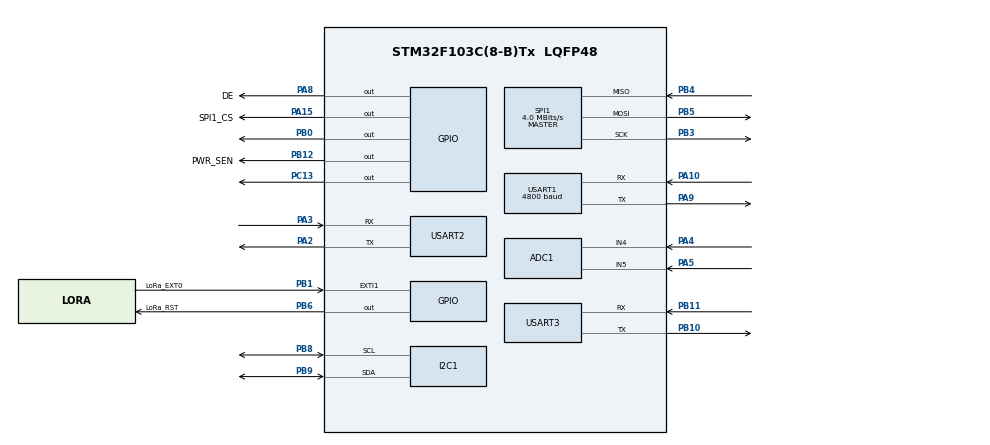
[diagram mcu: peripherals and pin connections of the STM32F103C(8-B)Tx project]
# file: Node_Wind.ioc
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ADC1.Channel-0\#ChannelRegularConversion=ADC_CHANNEL_4
ADC1.Channel-1\#ChannelRegularConversion=ADC_CHANNEL_5
ADC1.ContinuousConvMode=ENABLE
ADC1.NbrOfConversion=2
ADC1.NbrOfConversionFlag=1
ADC1.Rank-0\#ChannelRegularConversion=1
ADC1.Rank-1\#ChannelRegularConversion=2
ADC1.SamplingTime-0\#ChannelRegularConversion=ADC_SAMPLETIME_239CYCLES_5
ADC1.SamplingTime-1\#ChannelRegularConversion=ADC_SAMPLETIME_239CYCLES_5
ADC1.master=1
Dma.ADC1.0.Direction=DMA_PERIPH_TO_MEMORY
Dma.ADC1.0.Instance=DMA1_Channel1
Dma.ADC1.0.MemDataAlignment=DMA_MDATAALIGN_HALFWORD
Dma.ADC1.0.MemInc=DMA_MINC_ENABLE
Dma.ADC1.0.Mode=DMA_CIRCULAR
Dma.ADC1.0.PeriphDataAlignment=DMA_PDATAALIGN_HALFWORD
Dma.ADC1.0.PeriphInc=DMA_PINC_DISABLE
Dma.ADC1.0.Priority=DMA_PRIORITY_LOW
Dma.Request0=ADC1
Mcu.Family=STM32F1
Mcu.Name=STM32F103C(8-B)Tx
Mcu.Package=LQFP48
NVIC.DMA1_Channel1_IRQn=true\:0\:0\:false\:false\:true\:false\:true\:true
NVIC.EXTI1_IRQn=true\:0\:0\:false\:false\:true\:true\:true\:true
NVIC.PriorityGroup=NVIC_PRIORITYGROUP_4
NVIC.RTC_IRQn=true\:0\:0\:false\:false\:true\:true\:true\:true
NVIC.USART1_IRQn=true\:0\:0\:false\:false\:true\:true\:true\:true
PA0-WKUP.Mode=SYS_WakeUp0
PA0-WKUP.Signal=SYS_WKUP
PA10.Mode=Asynchronous
PA10.Signal=USART1_RX
PA13.Mode=Serial_Wire
PA13.Signal=SYS_JTMS-SWDIO
PA14.Mode=Serial_Wire
PA14.Signal=SYS_JTCK-SWCLK
PA15.GPIO_Label=SPI1_CS
PA15.GPIO_PuPd=GPIO_PULLUP
PA15.GPIO_Speed=GPIO_SPEED_FREQ_HIGH
PA15.Signal=GPIO_Output
PA2.Mode=Asynchronous
PA2.Signal=USART2_TX
PA3.Mode=Asynchronous
PA3.Signal=USART2_RX
PA4.Signal=ADCx_IN4
PA5.Signal=ADCx_IN5
PA8.GPIO_Label=DE
PA8.Signal=GPIO_Output
PA9.Mode=Asynchronous
PA9.Signal=USART1_TX
PB0.Signal=GPIO_Output
PB1.GPIO_Label=LoRa_EXT0
PB1.GPIO_PuPd=GPIO_PULLDOWN
PB1.Signal=GPXTI1
PB10.Mode=Asynchronous
PB10.Signal=USART3_TX
PB11.Mode=Asynchronous
PB11.Signal=USART3_RX
PB12.GPIO_Label=PWR_SEN
PB12.Signal=GPIO_Output
PB3.Mode=Full_Duplex_Master
PB3.Signal=SPI1_SCK
PB4.Mode=Full_Duplex_Master
PB4.Signal=SPI1_MISO
PB5.Mode=Full_Duplex_Master
PB5.Signal=SPI1_MOSI
PB6.GPIO_Label=LoRa_RST
PB6.GPIO_PuPd=GPIO_PULLDOWN
PB6.Signal=GPIO_Output
PB8.Mode=I2C
PB8.Signal=I2C1_SCL
PB9.Mode=I2C
PB9.Signal=I2C1_SDA
PC13-TAMPER-RTC.Signal=GPIO_Output
PD0-OSC_IN.Mode=HSE-External-Oscillator
PD0-OSC_IN.Signal=RCC_OSC_IN
PD1-OSC_OUT.Mode=HSE-External-Oscillator
PD1-OSC_OUT.Signal=RCC_OSC_OUT
ProjectManager.HeapSize=0x200
ProjectManager.StackSize=0x400
ProjectManager.TargetToolchain=STM32CubeIDE
RCC.APB1Freq_Value=8000000
RCC.APB2Freq_Value=8000000
SH.ADCx_IN4.0=ADC1_IN4,IN4
SH.ADCx_IN5.0=ADC1_IN5,IN5
SPI1.CalculateBaudRate=4.0 MBits/s
SPI1.Direction=SPI_DIRECTION_2LINES
SPI1.Mode=SPI_MODE_MASTER
SPI1.VirtualType=VM_MASTER
USART1.BaudRate=4800
USART1.VirtualMode=VM_ASYNC
USART2.VirtualMode=VM_ASYNC
USART3.VirtualMode=VM_ASYNC
VP_RTC_No_RTC_Output.Mode=RTC_OUT_NO
VP_RTC_VS_RTC_Activate.Mode=RTC_Enabled
VP_RTC_VS_RTC_Calendar.Mode=RTC_Calendar
board=custom

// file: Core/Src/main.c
/* USER CODE BEGIN Header */
/**
  ******************************************************************************
  * @file           : main.c
  * @brief          : Main program body
  ******************************************************************************
  * @attention
  *
  * Copyright (c) 2024 STMicroelectronics.
  * All rights reserved.
  *
  * This software is licensed under terms that can be found in the LICENSE file
  * in the root directory of this software component.
  * If no LICENSE file comes with this software, it is provided AS-IS.
  *
  ******************************************************************************
  */
/* USER CODE END Header */
#include "main.h"
#include "adc.h"
#include "dma.h"
#include "i2c.h"
#include "rtc.h"
#include "spi.h"
#include "usart.h"
#include "gpio.h"

/* USER CODE BEGIN Includes */
#include "stdio.h"
#include "stdbool.h"
#include "stdlib.h"
#include "common.h"
#include "sx1278.h"
#include "string.h"
#include "modbus_crc.h"
#include "flash.h"
#include "aht20.h"

/* USER CODE END Includes */

/* USER CODE BEGIN PTD */

typedef struct LoRa_Link_Struct
{
  uint16_t Node_ID;
  uint16_t Node_Status;
  uint16_t Node_Battery_Voltage;
  uint16_t Node_Period;
} Link_Struct_t;

typedef struct LoRa_Data_Struct
{
  Link_Struct_t Link;
  uint16_t Node_LM35_Temperature;
  uint16_t Node_AHT_Temperature;
  uint16_t Node_AHT_Humidity;
  uint16_t Node_wind_speed;
  uint16_t Node_wind_direction;
  uint16_t Node_wind_level;
} Data_Struct_t;

typedef struct LoRa_Packet_ID_0
{
  uint16_t Packet_ID;
  Link_Struct_t Payload;
} Link_Packet_t;

typedef struct LoRa_Packet_ID_1
{
  uint16_t Packet_ID;
  Data_Struct_t Payload;
} Data_Packet_t;

typedef struct LoRa_Packet_ID_2
{
  uint16_t Packet_ID;
  uint16_t Target_Node_ID;
  uint16_t Target_Node_Status;
  uint16_t Target_Node_Period;
  uint16_t Target_Node_Response;
} ResponsePacket_t;

typedef struct WindData
{
  uint16_t rawTemperature;
  float Temperature;

  uint16_t RawSpeed;
	float Speed;
  uint16_t Direction;

  uint16_t windLevel;
} WindData_t;

typedef struct DHT22
{
  float Temperature;
  float Humidity;
  float Fahrenheit;
} DHT22_t;

typedef struct AHT20
{
  float Temperature;
  float Humidity;
} AHT20_t;

typedef enum NodeStatus
{
  WAKEUP_MODE = 1U,
  LINK_MODE = 2U,
  NORMAL_MODE = 4U,
  RETRY_MODE = 8U,
  SHUTDOWN_MODE = 16U
} NodeStatus_t;

// typedef enum NodeStatusMesh
// {
//   LINK_MODE_MESH = 3U,
//   NORMAL_MODE_MESH = 5U,
//   RETRY_MODE_MESH = 7U
// } NodeStatusMesh_t;

/* USER CODE END PTD */

/* USER CODE BEGIN PD */

// #define NODE_ID     (0xCAAFU)
// #define NODE_ID     (0xCAAEU)
// #define NODE_ID     (0xCAADU)
#define NODE_ID     (0xCAACU)

#define TIMEOUT_MS                  (50U)
#define TIMEOUT_NODE                (12000)
#define PERIOD_RX_MS                (5000)
#define LINK_PACKET_ID              (0xBBBBU)
#define DATA_PACKET_ID              (0x4A4AU)
#define RESPONSE_PACKET_ID          (0x4444U)

#define PACKET_ID_0_MESH   (0xBBBBU)
#define PACKET_ID_1_MESH   (0x4A4AU)
#define PACKET_ID_2_MESH   (0x4444U)

#define SLEEPTIME_NORMAL_MODE_MIN   (5U)
#define SLEEPTIME_LINK_MODE_MIN     (1U)
#define SLEEPTIME_RETRY_MODE_SEC    (15U)

#define READ_SENSORS_DURATION_MS    (4500U)
#define DEFAULT_PERIOD_SEC          (300U)

#define WAIT_RESPONSE_DURATION_MS   (2000U)

#define NODE_WAKEUP_BIT_SHIFT       (0U)
#define NODE_WAKEUP_BIT             (1U << NODE_WAKEUP_BIT_SHIFT)
#define NODE_LINK_MODE_BIT_SHIFT    (1U)
#define NODE_LINK_MODE_BIT          (1U << NODE_LINK_MODE_BIT_SHIFT)
#define NODE_NORMAL_MODE_BIT_SHIFT  (2U)
#define NODE_NORMAL_MODE_BIT        (1U << NODE_NORMAL_MODE_BIT_SHIFT)
#define NODE_RETRY_MODE_BIT_SHIFT   (3U)
#define NODE_RETRY_MODE_BIT         (1U << NODE_RETRY_MODE_BIT_SHIFT)

#define NODE_SHUTDOWN_MODE_BIT_SHIFT   (4U)
#define NODE_SHUTDOWN_MODE_BIT         (1U << NODE_RETRY_MODE_BIT_SHIFT)

#define LINK_ACCEPT   (0xAAU)
#define LINK_REJECT   (0x55U)

#define LINK_CARRYON  (0x00U)
#define LINK_DISMISS  (0xFFU)

#define LINK_ACK      (0xABU)
#define LINK_NACK     (0xBAU)

#define AHT10_ADDRESS_1 (0x38 << 1) // 0b1110000; Adress[7-bit]Wite/Read[1-bit]
#define AHT10_ADDRESS_2 (0x39 << 1) // 0b1110000; Adress[7-bit]Wite/Read[1-bit]

#define SAVE_ADDR     (0x08013030U)

#define SPEED_ADDRESS 		0x01
#define DIRECTION_ADDRESS 0x02

/* USER CODE END PD */

void SystemClock_Config(void);
/* USER CODE BEGIN PFP */

void read_ADC(void);
void read_wind_sensor(void);
void read_DHT22(void);
void read_AHT20(void);

void goingDark(void);

void Link_Mode_Handle(void);
void Normal_Mode_Handle(void);
void Retry_Mode_Handle(void);

void Response_Handle(void);
void LoRa_Packet_Parser_Mesh(const uint8_t *data, uint32_t len);
void LoRa_Recv_Node(void);
bool Node_ID_inNetwork(uint16_t Node_ID);
void Normal_Mode_Mesh_Handle(Data_Packet_t Node);
/* USER CODE END PFP */

/* USER CODE BEGIN 0 */
static const char *TAG = "Main";
uint16_t bat = 0, temp35 = 0, test_bat;
double test_bat_f, test_lm;
uint16_t adc[2];

static WindData_t myWind;
static DHT22_t myDHT;
static AHT20_t myAHT;
Data_Packet_t Node_Mesh[3] = {0};

static NodeStatus_t myStatus;
static uint32_t backupStorage = 0U;
static uint8_t payload[100] = {0};
static uint8_t payload_node[100] = {0};
static volatile bool is_LoRa_EXTI = false;
static volatile bool is_All_Power_OFF = true;
static uint8_t array2store[32] = {0};
static volatile uint8_t nTry = 0;
static volatile Flag_Node_E = 0, Flag_Node_D = 0, Flag_Node_C = 0;

char Log[100];
uint8_t uart1_tx_data[8];
uint8_t uart1_tx_set_add[8];
uint8_t uart1_rx_data[15];
uint16_t recv_data[2];
uint8_t a[20];
uint16_t test_speed, test_level, test_di, test_dih;
float test_s;

uint8_t hum1, hum2, tempC1, tempC2, SUM, CHECK;
uint32_t pMillis, cMillis;
float temp_Celsius = 0;
float temp_Fahrenheit = 0;
float humidity = 0;
uint8_t hum_integral, hum_decimal, tempC_integral, tempC_decimal, tempF_integral, tempF_decimal;
char string[15];
uint8_t ver1;
float t, h;

uint32_t pre_time = 0, cur_time = 0;

void modbus_tx_data(uint8_t address)
{
	uart1_tx_data[0] = address; // slave address
	uart1_tx_data[1] = 0x03; // Function code for Read Input Registers (0x03)

	// where we want to start reading
	// The Register address will be 00000000 00000000 (40001)
	uart1_tx_data[2] = 0x00;
	uart1_tx_data[3] = 0x00;

	// this 2 byte indicate how many 16-bit register we want to read.
	// we will read 2, 16-bit data register from_
	// 00000000 00000000 to 00000000 00000001 (from 40001 to 40002 according to salve datasheet)
	uart1_tx_data[4] = 0x00;
	uart1_tx_data[5] = 0x02; //Sensor wind speed is 0x01, direction is 0x02

	// CRC Check function
	uint16_t crc = crc16(uart1_tx_data, 6);
	uart1_tx_data[6] = crc & 0xFF; //CRC LOW
	uart1_tx_data[7] = (crc >> 8) & 0xFF; //CRC HIGH

	// set DE,RE pin HIGH to set max485 as transmitter mode
	HAL_GPIO_WritePin(GPIOA, GPIO_PIN_8, GPIO_PIN_SET);
	// sending the uart1_tx_data array
	HAL_UART_Transmit(&huart1, uart1_tx_data, 8, 1000);
	// set DE,RE pin LOW to set max485 as receiver mode
	HAL_GPIO_WritePin(GPIOA, GPIO_PIN_8, GPIO_PIN_RESET);
}
/*
void modbus_tx_data_direction(){
	uart1_tx_data[0] = 0x02; // slave address
	uart1_tx_data[1] = 0x03; // Function code for Read Input Registers (0x03)

	// this 2 byte indicate the first 16-bit register.
	// where we want to start reading
	//The Register address will be 00000000 00000000 (40001)
	uart1_tx_data[2] = 0x00;
	uart1_tx_data[3] = 0x00;

	// this 2 byte indicate how many 16-bit register we want to read.
	// we will read 2, 16-bit data register from_
	// 00000000 00000000 to 00000000 00000001 (from 40001 to 40002 according to salve datasheet)
	uart1_tx_data[4] = 0x00;
	uart1_tx_data[5] = 0x02; //Sensor wind speed is 0x01, direction is 0x02

	// CRC Check function
	uint16_t crc = crc16(uart1_tx_data, 6);
	uart1_tx_data[6] = crc & 0xFF; //CRC LOW
	uart1_tx_data[7] = (crc >> 8) & 0xFF; //CRC HIGH

	// set DE,RE pin HIGH to set max485 as transmitter mode
	HAL_GPIO_WritePin(GPIOA, GPIO_PIN_8, GPIO_PIN_SET);
	// sending the uart1_tx_data array
	HAL_UART_Transmit(&huart1, uart1_tx_data, 8, 1000);
	// set DE,RE pin LOW to set max485 as receiver mode
	HAL_GPIO_WritePin(GPIOA, GPIO_PIN_8, GPIO_PIN_RESET);
}
*/
void modbus_tx_set_address()
{
	uart1_tx_set_add[0] = 0x01; // dia chi hien tai cua wind sensor
	uart1_tx_set_add[1] = 0x06; // Function code for set address Registers (0x03)

	// this 2 byte indicate the first 16-bit register.
	//We want set add, register add will be 07D0
	uart1_tx_set_add[2] = 0x07;
	uart1_tx_set_add[3] = 0xD0;

	// this 2 byte indicate how many 16-bit register we want to read.
	uart1_tx_set_add[4] = 0x00;
	uart1_tx_set_add[5] = 0x02;// set add = 0x02

	// CRC Check function
	uint16_t crc = crc16(uart1_tx_set_add, 6);
	uart1_tx_set_add[6] = crc & 0xFF; //CRC LOW
	uart1_tx_set_add[7] = (crc >> 8) & 0xFF; //CRC HIGH

	// set DE,RE pin HIGH to set max485 as transmitter mode
	HAL_GPIO_WritePin(GPIOA, GPIO_PIN_8, GPIO_PIN_SET);
	// sending the uart1_tx_set_add
	HAL_UART_Transmit(&huart1, uart1_tx_set_add, 8, 1000);
	// set DE,RE pin LOW to set max485 as receiver mode
	HAL_GPIO_WritePin(GPIOA, GPIO_PIN_8, GPIO_PIN_RESET);
}
/* USER CODE END 0 */

int main(void)
{

  /* MCU Configuration--------------------------------------------------------*/

  /* Reset of all peripherals, Initializes the Flash interface and the Systick. */
  HAL_Init();

  /* Configure the system clock */
  SystemClock_Config();

  /* Initialize all configured peripherals */
  MX_GPIO_Init();
  MX_DMA_Init();
  MX_SPI1_Init();
  MX_ADC1_Init();
  MX_USART1_UART_Init();
  MX_USART2_UART_Init();
  MX_USART3_UART_Init();
//  MX_I2C1_Init();
  MX_RTC_Init();
  /* USER CODE BEGIN 2 */
	sx1278_init();
	HAL_Delay(100);
	HAL_UARTEx_ReceiveToIdle_IT(&huart1, uart1_rx_data, 15); // delay 3.5s sau khi on moi read duoc
	HAL_Delay(50);
	HAL_GPIO_WritePin(GPIOB, GPIO_PIN_0, GPIO_PIN_SET); // xanh

while(1)
{
	  HAL_GPIO_WritePin(GPIOC, GPIO_PIN_13, GPIO_PIN_RESET);
//	  HAL_GPIO_WritePin(GPIOB, GPIO_PIN_0, GPIO_PIN_RESET);
	  myStatus = HAL_RTCEx_BKUPRead(&hrtc, RTC_BKP_DR2);

	  if (myStatus == 0U)
	  {
	    HAL_RTCEx_BKUPWrite(&hrtc, RTC_BKP_DR3, SLEEPTIME_NORMAL_MODE_MIN * 60);
	    myStatus = LINK_MODE;
	    is_All_Power_OFF = false;
	  }

	  if ((myStatus & LINK_MODE) != 0U)
	  {
	    Link_Mode_Handle();
	  }
	  else if ((myStatus & NORMAL_MODE) != 0U)
	      {
			  Normal_Mode_Handle();
			  HAL_Delay(50);
			  if (Flag_Node_C)
			  {
				Normal_Mode_Mesh_Handle(Node_Mesh[0]);
				Flag_Node_C = 0;
			  }
			  if (Flag_Node_D)
			  {
				Normal_Mode_Mesh_Handle(Node_Mesh[1]);
				Flag_Node_D = 0;
			  }
			  if (Flag_Node_E)
			  {
				Normal_Mode_Mesh_Handle(Node_Mesh[2]);
				Flag_Node_E = 0;
			  }
	      }
	      else if ((myStatus & RETRY_MODE) != 0U)
	        {
//	          Retry_Mode_Handle();
		        Normal_Mode_Handle();
				HAL_Delay(50);
				if (Flag_Node_C)
				{
				  Normal_Mode_Mesh_Handle(Node_Mesh[0]);
				  Flag_Node_C = 0;
				}
				if (Flag_Node_D)
				{
				  Normal_Mode_Mesh_Handle(Node_Mesh[1]);
				  Flag_Node_D = 0;
				}
				if (Flag_Node_E)
				{
				  Normal_Mode_Mesh_Handle(Node_Mesh[2]);
				  Flag_Node_E = 0;
				}
	        }

	  if ((myStatus & SHUTDOWN_MODE) != 0U)
	  {
	    // MX_GPIO_Init();
	    MX_SPI1_Init();
	    MX_RTC_Init();
	    myStatus = WAKEUP_MODE;
	    while (HAL_RTCEx_BKUPRead(&hrtc, RTC_BKP_DR2) != myStatus)  HAL_RTCEx_BKUPWrite(&hrtc, RTC_BKP_DR2, myStatus);
	    while (1);
	  }

	  while (HAL_RTCEx_BKUPRead(&hrtc, RTC_BKP_DR2) != myStatus)  HAL_RTCEx_BKUPWrite(&hrtc, RTC_BKP_DR2, myStatus);

	  HAL_GPIO_WritePin(GPIOC, GPIO_PIN_13, GPIO_PIN_SET);

    LoRa_Recv_Node();
}
// goingDark();
  /* USER CODE END 2 */

  /* Infinite loop */
  while (1)
  {

    /* USER CODE BEGIN 3 */
	  HAL_Delay(1000);
	  HAL_GPIO_TogglePin(GPIOC, GPIO_PIN_13);
	  /*
	  	      if (sx1278_recv_data((uint8_t *)rx, &nByteRx, &rssi, &snr, false) == SX1278_OK)
	  	      {
	  	    	  HAL_UART_Transmit(&huart1,(uint8_t*) "rx:", sizeof("rx:"), 100);
	  	    	  HAL_UART_Transmit(&huart1, rx, sizeof(rx), 100);
	  	    	  printf("data: %d\n", nByteRx);
	  	    	  printf("rssi: %d\n", rssi);
	  	      }
	  */
  }
  /* USER CODE END 3 */
}

void SystemClock_Config(void)
{
  RCC_OscInitTypeDef RCC_OscInitStruct = {0};
  RCC_ClkInitTypeDef RCC_ClkInitStruct = {0};
  RCC_PeriphCLKInitTypeDef PeriphClkInit = {0};

  /** Initializes the RCC Oscillators according to the specified parameters
  * in the RCC_OscInitTypeDef structure.
  */
  RCC_OscInitStruct.OscillatorType = RCC_OSCILLATORTYPE_HSI|RCC_OSCILLATORTYPE_LSI;
  RCC_OscInitStruct.HSIState = RCC_HSI_ON;
  RCC_OscInitStruct.HSICalibrationValue = RCC_HSICALIBRATION_DEFAULT;
  RCC_OscInitStruct.LSIState = RCC_LSI_ON;
  RCC_OscInitStruct.PLL.PLLState = RCC_PLL_NONE;
  if (HAL_RCC_OscConfig(&RCC_OscInitStruct) != HAL_OK)
  {
    Error_Handler();
  }

  /** Initializes the CPU, AHB and APB buses clocks
  */
  RCC_ClkInitStruct.ClockType = RCC_CLOCKTYPE_HCLK|RCC_CLOCKTYPE_SYSCLK
                              |RCC_CLOCKTYPE_PCLK1|RCC_CLOCKTYPE_PCLK2;
  RCC_ClkInitStruct.SYSCLKSource = RCC_SYSCLKSOURCE_HSI;
  RCC_ClkInitStruct.AHBCLKDivider = RCC_SYSCLK_DIV1;
  RCC_ClkInitStruct.APB1CLKDivider = RCC_HCLK_DIV1;
  RCC_ClkInitStruct.APB2CLKDivider = RCC_HCLK_DIV1;

  if (HAL_RCC_ClockConfig(&RCC_ClkInitStruct, FLASH_LATENCY_0) != HAL_OK)
  {
    Error_Handler();
  }
  PeriphClkInit.PeriphClockSelection = RCC_PERIPHCLK_RTC|RCC_PERIPHCLK_ADC;
  PeriphClkInit.RTCClockSelection = RCC_RTCCLKSOURCE_LSI;
  PeriphClkInit.AdcClockSelection = RCC_ADCPCLK2_DIV2;
  if (HAL_RCCEx_PeriphCLKConfig(&PeriphClkInit) != HAL_OK)
  {
    Error_Handler();
  }
}

/* USER CODE BEGIN 4 */

void HAL_UARTEx_RxEventCallback(UART_HandleTypeDef *huart, uint16_t Size)
{
	recv_data[0] = uart1_rx_data[3]<<8 | uart1_rx_data[4];
	recv_data[1] = uart1_rx_data[5]<<8 | uart1_rx_data[6];

	HAL_UARTEx_ReceiveToIdle_IT(&huart1, uart1_rx_data, 15);
}

void read_ADC(void)
{
		HAL_ADC_Start_DMA(&hadc1,(uint32_t*) adc, 2);
		HAL_Delay(30);
		for(uint8_t i =0; i<15; i++)
		{
			bat += adc[0];
			temp35 += adc[1];
			HAL_Delay(1);
		}

		bat = bat/15;
		test_bat_f =(double)((double)bat * 3.3 * 4.9 / 4095.0) - 0.22656;
		temp35 = temp35 / 15;
    myWind.rawTemperature = temp35;
    myWind.Temperature = (float)((float)temp35 * 11.0 * 17.0 /4095.0);
	  test_lm = (float) myWind.Temperature;
		HAL_ADC_Stop_DMA(&hadc1);
}

void read_wind_sensor (void)
{
	HAL_GPIO_WritePin(PWR_SEN_GPIO_Port, PWR_SEN_Pin, 1);
  HAL_Delay(3500);

	modbus_tx_data(SPEED_ADDRESS);
  HAL_Delay(50);
  myWind.RawSpeed = recv_data[0];
//	test_speed = recv_data[0];
//	test_s  = (float)((float)test_speed/10.0);
  myWind.Speed = (float)((float)myWind.RawSpeed / 10.0);
  myWind.windLevel = recv_data[1];
//	test_level = recv_data[1];

  modbus_tx_data(DIRECTION_ADDRESS);
  HAL_Delay(50);
  myWind.Direction = recv_data[0];
//	test_di = recv_data[1];
//	test_dih = recv_data[0];

  HAL_GPIO_WritePin(PWR_SEN_GPIO_Port, PWR_SEN_Pin, 0);
}

void read_AHT20(void)
{
		MX_I2C1_Init();
    HAL_Delay(100);
		AHT20_init();
		AHT20_read(&t, &h);
    myAHT.Temperature = t;
    myAHT.Humidity = h;
		HAL_I2C_DeInit(&hi2c1);
}

void goingDark(void)
{
  /* Enable WUPIN PA0: HAL_PWR_EnableWakeUpPin(PWR_WAKEUP_PIN1) */
  SET_BIT(PWR->CSR, PWR_CSR_EWUP);

  /* Set RTC Alarm for 300s */
  RTC_TimeTypeDef timeNow;
  RTC_AlarmTypeDef timeAlarm;
  HAL_RTC_GetTime(&hrtc, &timeNow, RTC_FORMAT_BCD);
  timeAlarm.Alarm = RTC_ALARM_A;
  timeAlarm.AlarmTime = timeNow; // luu thoi gian hien tai
  if (myStatus == NORMAL_MODE)
  {
    // timeAlarm.AlarmTime.Seconds += 5;
    timeAlarm.AlarmTime.Minutes += SLEEPTIME_NORMAL_MODE_MIN; // + thoi gian cua chu ky
	}
  else if (myStatus == LINK_MODE)
      {
        // timeAlarm.AlarmTime.Seconds += 5;
        timeAlarm.AlarmTime.Minutes += SLEEPTIME_LINK_MODE_MIN;
      }
      else if (myStatus == RETRY_MODE)
          {
            timeAlarm.AlarmTime.Seconds += SLEEPTIME_RETRY_MODE_SEC;
          }

  __HAL_RTC_ALARM_CLEAR_FLAG(&hrtc, RTC_FLAG_ALRAF);
  HAL_RTC_SetAlarm_IT(&hrtc, &timeAlarm, RTC_FORMAT_BCD); // enable interrupt

  //STANDBY mode
  /* Set SLEEPDEEP bit of Cortex System Control Register */
  SET_BIT(SCB->SCR, ((uint32_t)SCB_SCR_SLEEPDEEP_Msk));

  /* Select Standby mode */
  SET_BIT(PWR->CR, PWR_CR_PDDS);

  /* Clear WUF bit in Power Control/Status register */
  SET_BIT(PWR->CR, PWR_CR_CWUF); /*!< Clear Wakeup Flag */

  /* Clear SBF bit in Power Control/Status register */
  SET_BIT(PWR->CR, PWR_CR_CSBF); /*!< Clear Standby Flag */

  (void)PWR->CR;
  (void)PWR->CSR;

  // Disable debug, trace and IWDG in low-power modes
  DBGMCU->CR = (uint32_t)0x00;

// #if DEBUG == 1
//   logPC("Bravo 6\nGoing Dark\n");
// #endif /* DEBUG == 1 */

  for (;;)
  {
    __DSB();
    __WFI(); // Wait for interrupt
  }
}
//kiem tra xem truyen thong duoc khong
bool is_OK_2_Talk(void)
{
  sx1278_standby();
  uint32_t checkTimeout = HAL_GetTick();
  uint8_t irq = sx1278_read_reg(REG_IRQ_FLAGS);
  sx1278_write_reg(REG_IRQ_FLAGS, irq);     //reset irq
  is_LoRa_EXTI = false;
  sx1278_cad();
  while ((is_LoRa_EXTI == false) && ((HAL_GetTick() - checkTimeout) < TIMEOUT_MS));
  if (is_LoRa_EXTI == false) return false;
  irq = sx1278_read_reg(REG_IRQ_FLAGS);
  sx1278_write_reg(REG_IRQ_FLAGS, irq);     //reset irq
  sx1278_standby();
  if (((irq & 0x01U) != 0U) && ((irq & 0x04U) != 0U))
  {
    return false;
  }
  else if (((irq & 0x01U) == 0U) && ((irq & 0x04U) != 0U))
  {
    return true;
  }
  return false;
}

void Link_Mode_Handle(void)
{
  read_ADC();
	HAL_Delay(10);
	read_ADC();
	HAL_Delay(10);
	read_ADC();

  MX_SPI1_Init();
  HAL_Delay(100);
  sx1278_init();

  Link_Packet_t LinkReq;
  LinkReq.Packet_ID = LINK_PACKET_ID;
  LinkReq.Payload.Node_ID = NODE_ID;
  LinkReq.Payload.Node_Status = myStatus;
  LinkReq.Payload.Node_Battery_Voltage = (uint16_t)(test_bat_f * 100.0); // 100 x Bat_voltage
  LinkReq.Payload.Node_Period = (uint16_t) (HAL_RTCEx_BKUPRead(&hrtc, RTC_BKP_DR3));
  memcpy((uint8_t*)&payload, (uint8_t*)&LinkReq, sizeof(Link_Packet_t));

  nTry = 0;
  while ((is_OK_2_Talk() == false) && (nTry < 10))
  {
    nTry++;
    HAL_Delay(110);
    // HAL_Delay(get_random_value(backupStorage, 50, 200));
  }

  if (nTry == 10)
  {
    myStatus = LINK_MODE;
    HAL_SPI_DeInit(&hspi1);
    return;
  }

  sx1278_send_data((uint8_t *)&payload, sizeof(Link_Packet_t));

  Response_Handle();

  sx1278_sleep();
  HAL_SPI_DeInit(&hspi1);
}

void Normal_Mode_Handle(void)
{
  read_ADC();
	HAL_Delay(10);
	read_ADC();
	HAL_Delay(10);
	read_ADC();

  read_wind_sensor();
  read_AHT20();

  MX_SPI1_Init();
  HAL_Delay(100);
  sx1278_init();

  Data_Packet_t data_packet;
  data_packet.Packet_ID = DATA_PACKET_ID;
  data_packet.Payload.Link.Node_ID = NODE_ID;
  data_packet.Payload.Link.Node_Status = myStatus;
  data_packet.Payload.Link.Node_Battery_Voltage = (uint16_t)(test_bat_f * 100.0); // 100 x Bat_voltage
  data_packet.Payload.Link.Node_Period      = (uint16_t)(HAL_RTCEx_BKUPRead(&hrtc, RTC_BKP_DR3));

  data_packet.Payload.Node_LM35_Temperature = (uint16_t)(myWind.Temperature * 10); // 10 x temp_lm35
  data_packet.Payload.Node_AHT_Temperature  = (uint16_t)(myAHT.Temperature * 10);  // 10 x temp_aht
  data_packet.Payload.Node_AHT_Humidity     = (uint16_t)(myAHT.Humidity * 10);     // 10 x humid_aht
  data_packet.Payload.Node_wind_speed       = (uint16_t)(myWind.Speed * 10);       // 10 x wind speed
  data_packet.Payload.Node_wind_direction   = myWind.Direction;                    // direction type uint16
  data_packet.Payload.Node_wind_level       = myWind.windLevel;                    // direction type uint16
  memset(payload, '\0', sizeof(payload));
  memcpy((uint8_t *)payload, (uint8_t *)&data_packet, sizeof(Data_Packet_t));

  nTry = 0;
  while ((is_OK_2_Talk() == false) && (nTry < 10))
  {
    nTry++;
    HAL_Delay(150);
    // HAL_Delay(get_random_value(backupStorage, 50, 200));
  }
  if (nTry == 10)
  {
    myStatus = RETRY_MODE;
    HAL_SPI_DeInit(&hspi1);
    // HAL_GPIO_WritePin(PWR_SUB_GPIO_Port, PWR_SUB_Pin, GPIO_PIN_RESET);
    // HAL_GPIO_WritePin(LED0_GPIO_Port, LED0_Pin, GPIO_PIN_SET);
    return;
  }

  sx1278_send_data(payload, sizeof(Data_Packet_t));
  Response_Handle();

  if (myStatus == RETRY_MODE)
  {
    memset(array2store, '\0', sizeof(array2store));
    memcpy((uint8_t *)&array2store, (uint8_t *)&data_packet, sizeof(Data_Packet_t)); // save value measured
    Flash_Write_Data(SAVE_ADDR, (uint32_t*)&array2store, 8U);
    HAL_Delay(300);
  }

  sx1278_sleep();
  HAL_SPI_DeInit(&hspi1);
}

void Retry_Mode_Handle(void)
{
  Flash_Read_Data(SAVE_ADDR, (uint32_t *)&array2store, sizeof(array2store));
  array2store[4] = RETRY_MODE;
  memcpy((uint8_t *)payload, (uint8_t *)&array2store, sizeof(Data_Packet_t));

  MX_SPI1_Init();
  HAL_Delay(100);
  sx1278_init();

  nTry = 0;
  while ((is_OK_2_Talk() == false) && (nTry < 10))
  {
    nTry++;
    HAL_Delay(150);
    // HAL_Delay(get_random_value(backupStorage, 50, 200));
  }
  if (nTry == 10)
  {
    myStatus = RETRY_MODE;
    HAL_SPI_DeInit(&hspi1);
    return;
  }

  sx1278_send_data(payload, sizeof(Data_Packet_t));

  Response_Handle();

  sx1278_sleep();
  HAL_SPI_DeInit(&hspi1);
}

void Response_Handle(void)
{
  static ResponsePacket_t resp;
  static uint8_t data[100] = {0};
  static uint32_t nByteRx = 0;
  static int rssi = -1;
  static float snr = -1;

  is_LoRa_EXTI = false;
  sx1278_start_recv_data();

  uint32_t timeOut = HAL_GetTick();
  while ((HAL_GetTick() - timeOut) < 5000U)
  {
    if (is_LoRa_EXTI == true)
    {
      if (sx1278_recv_data((uint8_t *)data, &nByteRx, &rssi, &snr, false) == SX1278_OK)
      {
        if (nByteRx == sizeof(ResponsePacket_t))  memcpy(&resp, &data, sizeof(ResponsePacket_t));
        else
        {
          is_LoRa_EXTI = false;
          sx1278_set_irq(0x00);
          sx1278_write_reg(REG_IRQ_FLAGS, sx1278_read_reg(REG_IRQ_FLAGS));
          continue;
        }

        if ((resp.Packet_ID != RESPONSE_PACKET_ID) || (resp.Target_Node_ID != NODE_ID))
        {
          // this is not what I want OR this is not for me
          is_LoRa_EXTI = false;
          sx1278_start_recv_data();
          continue;
        }
        else
        {
          // Yep ok this is my packet and ID
          if (myStatus == LINK_MODE)
          {
            if ((resp.Target_Node_Response & 0x00FF) != LINK_ACK) {myStatus = LINK_MODE; return;}
            if      (((resp.Target_Node_Response >> 8) & 0x00FF) == LINK_ACCEPT)    myStatus = NORMAL_MODE;
            else if (((resp.Target_Node_Response >> 8) & 0x00FF) == LINK_REJECT)    myStatus = (uint8_t)resp.Target_Node_Status;
          }
          else if (myStatus == NORMAL_MODE)
              {
                if ((resp.Target_Node_Response & 0x00FF) != LINK_ACK) {myStatus = RETRY_MODE; return;}
                if      (((resp.Target_Node_Response >> 8) & 0x00FF) == LINK_CARRYON)   myStatus = (uint8_t)resp.Target_Node_Status;
                else if (((resp.Target_Node_Response >> 8) & 0x00FF) == LINK_DISMISS)   myStatus = LINK_MODE;
              }
              else if (myStatus == RETRY_MODE)
              {
                if      ((resp.Target_Node_Response & 0x00FF) != LINK_ACK) {myStatus = RETRY_MODE;  return;}
                else if ((resp.Target_Node_Response & 0x00FF) == LINK_ACK) {myStatus = NORMAL_MODE;}
                if      (((resp.Target_Node_Response >> 8) & 0x00FF) == LINK_CARRYON)   myStatus = (uint8_t)resp.Target_Node_Status;
                else if (((resp.Target_Node_Response >> 8) & 0x00FF) == LINK_DISMISS)   myStatus = LINK_MODE;
              }
          HAL_RTCEx_BKUPWrite(&hrtc, RTC_BKP_DR3, resp.Target_Node_Period);
          return;
        }
      }
      else
      {
        is_LoRa_EXTI = false;
        sx1278_set_irq(0x00);
        sx1278_write_reg(REG_IRQ_FLAGS, sx1278_read_reg(REG_IRQ_FLAGS));
        continue;
      }
    }
  }

  if (myStatus == LINK_MODE)
  {
    myStatus = LINK_MODE;
  }
  else if (myStatus == NORMAL_MODE)
      {
        myStatus = RETRY_MODE;
      }
      else if (myStatus == RETRY_MODE)
          {
            myStatus = RETRY_MODE;
          }
}

bool Node_ID_inNetwork(uint16_t Node_ID)
{
	uint16_t N_ID[MAX_NODE];
  N_ID[0] = 0xCAACU;
  N_ID[1] = 0xCAADU;
  N_ID[2] = 0xCAAEU;
  for (int i = 0; i < MAX_NODE; i++)
  {
      if (N_ID[i] == NODE_ID) continue;
      if (N_ID[i] == Node_ID) return true;

  }
  return false;
}

void LoRa_Packet_Parser_Mesh(const uint8_t *data, uint32_t len)
{
    double val_sen = 0;
    switch ((uint16_t)((data[0] << 8) & 0xFF00) | (uint16_t)(data[1] & 0x00FF))
    {
        case PACKET_ID_0_MESH:
        {
            if (len != sizeof(Link_Packet_t)) LOG(TAG, "error");

            Link_Struct_t link_payload;
            memcpy((uint8_t *)&link_payload, (uint8_t *)&data[2], sizeof(Link_Struct_t)); // copy all data link for link_payload
            sprintf(Log,"Node ID: %02X", link_payload.Node_ID);
            LOG(TAG, Log);
            if (Node_ID_inNetwork(link_payload.Node_ID) == true)
            {
                ResponsePacket_t resp = {PACKET_ID_2_MESH, link_payload.Node_ID, NORMAL_MODE, DEFAULT_PERIOD_SEC, (uint16_t)(((LINK_ACCEPT << 8) & 0xFF00) | LINK_ACK)};

                nTry = 0;
                while ((is_OK_2_Talk() == false) && (nTry < 10))
                {
                  nTry++;
                  HAL_Delay(110);
                }

                if (nTry == 10)
                {
                  myStatus = LINK_MODE;
                  HAL_SPI_DeInit(&hspi1);
                  return;
                }

                sx1278_send_data(&resp, sizeof(ResponsePacket_t));
                LOG(TAG, "Done!\n");
            }
            // sx1278_start_recv_data();
            break;
        }

        case PACKET_ID_1_MESH:
        {
            if (len != sizeof(Data_Packet_t)) break;
            LOG(TAG, "Data Packet\t");

            Data_Struct_t data_recv;
            memcpy((uint8_t *)&data_recv, (uint8_t *) &data[2], sizeof(Data_Struct_t));
            if (data_recv.Link.Node_ID == NODE_ID) break;
            if (data_recv.Link.Node_ID == 0xCAAC)
            {
              memcpy((uint8_t *)&Node_Mesh[0], (uint8_t *) &data[0], sizeof(Data_Packet_t));
              Flag_Node_C = 1;
            }
            else if (data_recv.Link.Node_ID == 0xCAAD)
                 {
                    memcpy((uint8_t *)&Node_Mesh[1], (uint8_t *) &data[0], sizeof(Data_Packet_t));
                    Flag_Node_D = 1;
                 }
                 else if (data_recv.Link.Node_ID == 0xCAAE)
                      {
                        memcpy((uint8_t *)&Node_Mesh[2], (uint8_t *) &data[0], sizeof(Data_Packet_t));
                        Flag_Node_E = 1;
                      }

            ResponsePacket_t resp = {PACKET_ID_2_MESH, data_recv.Link.Node_ID, NORMAL_MODE, DEFAULT_PERIOD_SEC, (uint16_t)(((LINK_CARRYON << 8) & 0xFF00) | LINK_ACK)};
            LOG(TAG, "Response Lora Mesh...\t");

            nTry = 0;
            while ((is_OK_2_Talk() == false) && (nTry < 10))
            {
              nTry++;
              HAL_Delay(150);
            }
            if (nTry == 10)
            {
              myStatus = LINK_MODE;
              HAL_SPI_DeInit(&hspi1);
              return;
            }

            LOG(TAG, "Sending packet response to NODE!\t");
            sx1278_send_data(&resp, sizeof(ResponsePacket_t));
            if (data_recv.Link.Node_ID == 0xCAACU) sprintf(Log,"\nNode_1 ID: %02X",data_recv.Link.Node_ID);
			else if (data_recv.Link.Node_ID == 0xCAADU) sprintf(Log,"\nNode_2 ID: %02X",data_recv.Link.Node_ID);
				  else if (data_recv.Link.Node_ID == 0xCAAEU) sprintf(Log,"\nNode_3 ID: %02X",data_recv.Link.Node_ID);
			LOG(TAG, Log);

			sprintf(Log,"Period: %d",data_recv.Link.Node_Period);
			LOG(TAG, Log);
			if (data_recv.Link.Node_Status == 1) LOG(TAG,"Status: WAKEUP MODE!");
			else if (data_recv.Link.Node_Status == 2) LOG(TAG,"Status: LINK MODE!");
				  else if (data_recv.Link.Node_Status == 4) LOG(TAG,"Status: NORMAL MODE!");
					  else if (data_recv.Link.Node_Status == 8) LOG(TAG,"Status: RETRY MODE!");
							else if (data_recv.Link.Node_Status == 16) LOG(TAG,"Status: SHUTDOWN MODE!");

			val_sen = (double)(((double)(data_recv.Link.Node_Battery_Voltage))/100.0);
			sprintf(Log,"Battery: %.1f", val_sen);
			LOG(TAG, Log);

			val_sen = (double)(((double)(data_recv.Node_AHT_Humidity))/10.0);
			sprintf(Log,"AHT Humidity: %.1f%c", val_sen, 0x25);
			LOG(TAG, Log);

			val_sen = (double)(((double)(data_recv.Node_AHT_Temperature))/10.0);
			sprintf(Log,"AHT Temperature: %.1f", val_sen);
			LOG(TAG, Log);

			val_sen = (double)(((double)(data_recv.Node_LM35_Temperature))/10.0);
			sprintf(Log,"LM35: %.1f", val_sen);
			LOG(TAG, Log);

			val_sen = (double)(((double)(data_recv.Node_wind_speed))/10.0 * 3.6);
			sprintf(Log,"Wind Speed: %.1f", val_sen);
			LOG(TAG, Log);

			sprintf(Log,"Wind Level: %d", data_recv.Node_wind_level);
			LOG(TAG, Log);

			sprintf(Log,"Wind Direction: %d", data_recv.Node_wind_direction);
			LOG(TAG, Log);

            if (Node_ID_inNetwork(data_recv.Link.Node_ID) == false)
            {
                LOG(TAG, "NOT IN NETWORK");
                ResponsePacket_t resp = {PACKET_ID_2_MESH, data_recv.Link.Node_ID, LINK_MODE, DEFAULT_PERIOD_SEC, (uint16_t)(((LINK_DISMISS << 8) & 0xFF00) | LINK_ACK)};

                // nTry = 0;
                // while ((is_OK_2_Talk() == false) && (nTry < 10))
                // {
                //   nTry++;
                //   HAL_Delay(150);
                // }
                // if (nTry == 10)
                // {
                //   myStatus = RETRY_MODE;
                //   HAL_SPI_DeInit(&hspi1);
                //   return;
                // }

                LOG(TAG, "Sending packet to NODE...\t");
                sx1278_send_data(&resp, sizeof(ResponsePacket_t));

                LOG(TAG, "Dismiss NODE!!\n");
                // sx1278_start_recv_data();
            }
            break;
        }
        default: break;
    }
}

void Normal_Mode_Mesh_Handle(Data_Packet_t Node)
{
  MX_SPI1_Init();
  HAL_Delay(100);
  sx1278_init();

  memset(payload, '\0', sizeof(payload));
  memcpy((uint8_t *)payload, (uint8_t *)&Node, sizeof(Data_Packet_t));

  nTry = 0;
  while ((is_OK_2_Talk() == false) && (nTry < 10))
  {
    nTry++;
    HAL_Delay(150);
  }
  if (nTry == 10)
  {
    myStatus = LINK_MODE;
    HAL_SPI_DeInit(&hspi1);
    return;
  }

  sx1278_send_data(payload, sizeof(Data_Packet_t));
  Response_Handle();

  sx1278_sleep();
  HAL_SPI_DeInit(&hspi1);
}

void LoRa_Recv_Node(void)
{
  // static ResponsePacket_t resp_mesh;
  static uint8_t data_mesh[100] = {0};
  static uint32_t nByteRx_mesh = 0;
  static int rssi_mesh = -1;
  static float snr_mesh = -1;
  uint32_t Tick_Time = HAL_GetTick();
  MX_SPI1_Init();
  HAL_Delay(100);
  sx1278_init();
  is_LoRa_EXTI = false;
  sx1278_start_recv_data();
  while ((HAL_GetTick() - Tick_Time) < TIMEOUT_NODE)
  {
    if (is_LoRa_EXTI == true)
    {
      HAL_GPIO_WritePin(GPIOB, GPIO_PIN_0, GPIO_PIN_RESET);
      if (sx1278_recv_data((uint8_t *)data_mesh, &nByteRx_mesh, &rssi_mesh, &snr_mesh, false) == SX1278_OK)
      {
    	  is_LoRa_EXTI = false;
    	  sprintf(Log, "\nLoRa Received %lu byte(s) - rssi: %d - snr: %2.1f", nByteRx_mesh, rssi_mesh, snr_mesh);
        LOG(TAG, Log);
//          if (nByteRx_mesh == 10)
//          {
//            sx1278_start_recv_data();
//            continue;
            // memcpy(&resp_mesh, &data_mesh, sizeof(ResponsePacket_t)); // this is response
        		// sprintf(Log,"Pack: %02x", resp_mesh.Packet_ID);
        		// LOG( TAG, Log);
            // sprintf(Log, "ID: %02x",   resp_mesh.Target_Node_ID);
            // LOG(TAG, Log);
            // for (int i =0; i< nByteRx_mesh; i++)
            // {
            // 	sprintf(Log, "%02x", data_mesh[i]);
            // 	LOG(TAG, Log);
            // }
//          }
          LoRa_Packet_Parser_Mesh((const uint8_t *)data_mesh, nByteRx_mesh);
          sx1278_start_recv_data();
          HAL_GPIO_TogglePin(GPIOB, GPIO_PIN_0);
      }
      else
      {
    	  is_LoRa_EXTI = false;
    	  sx1278_set_irq(0x00);
    	  sx1278_write_reg(REG_IRQ_FLAGS, sx1278_read_reg(REG_IRQ_FLAGS));
      }
      is_LoRa_EXTI = false;
    }
  }

  sx1278_sleep();
  HAL_SPI_DeInit(&hspi1);
}
void HAL_GPIO_EXTI_Callback(uint16_t GPIO_Pin)
{
  if ((GPIO_Pin == LoRa_EXT0_Pin) && (is_LoRa_EXTI == false))
  {
    is_LoRa_EXTI = true;
  }
}

void HAL_RTCEx_RTCEventCallback(RTC_HandleTypeDef *hrtc)
{
  HAL_NVIC_SystemReset();
}

/* USER CODE END 4 */

void Error_Handler(void)
{
  __disable_irq();
  while (1)
  {
  }
}
